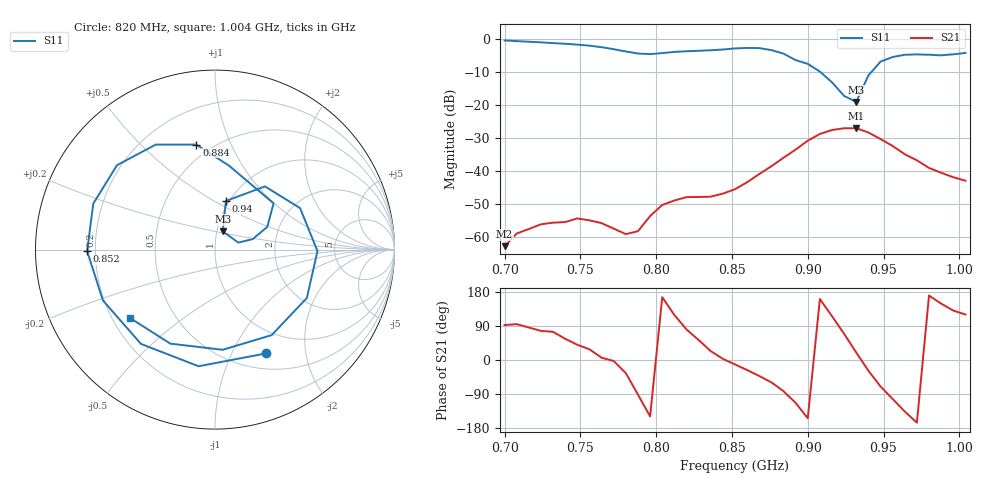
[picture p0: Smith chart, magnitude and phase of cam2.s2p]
# Hz S RI R 50
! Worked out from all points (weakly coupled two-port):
!   39 points, 700 MHz to 1.004 GHz, reference 50 ohm
!   highest |S21| = -27.12 dB at 932 MHz (marker M1); lowest = -62.9 dB at 700 MHz (marker M2)
!   lowest |S11| = -19.1 dB at 932 MHz (marker M3), VSWR 1.25, Z = 53.3 + j11 ohm
!   |S11| at or under -10 dB: 908.1 MHz to 942.2 MHz (34.1 MHz wide, 3.69 % of centre)
!   S12 and S22 are empty: the file has one direction only
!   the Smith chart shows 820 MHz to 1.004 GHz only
!   S11 on the Smith chart (normalised r, x): 820 MHz: 0.69, -1.37; 852 MHz: 0.17, -0.01; 884 MHz: 0.41, +0.75; 940 MHz: 0.97, +0.57; 1.004 GHz: 0.27, -0.33
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7e8  0.7629 0.5504  -2.82e-05 0.000718  0 0  0 0
7.24e8  0.8447 -0.2502  0.00035 0.0015  0 0  0 0
7.4e8  0.4566 -0.7026  0.000934 0.00138  0 0  0 0
7.56e8  -0.1929 -0.76  0.00156 0.000834  0 0  0 0
7.72e8  -0.6637 -0.1995  0.00132 -6.33e-05  0 0  0 0
7.8e8  -0.6002 0.2228  0.000899 -0.000624  0 0  0 0
7.88e8  -0.2556 0.539  -3.12e-05 -0.00121  0 0  0 0
7.96e8  0.2353 0.5345  -0.00176 -0.00106  0 0  0 0
8.04e8  0.5753 0.1882  -0.00294 0.000745  0 0  0 0
8.2e8  0.286 -0.5783  0.00065 0.00392  0 0  0 0
8.36e8  -0.4123 -0.5255  0.00371 0.00161  0 0  0 0
8.52e8  -0.7122 -0.00935  0.00513 -0.00106  0 0  0 0
8.68e8  -0.5457 0.4703  0.00658 -0.00599  0 0  0 0
8.84e8  -0.104 0.5849  0.0021 -0.0156  0 0  0 0
9e8  0.3266 0.2575  -0.0256 -0.0126  0 0  0 0
9.08e8  0.2911 0.1266  -0.034 0.0118  0 0  0 0
9.32e8  0.043 0.1017  0.0415 0.0147  0 0  0 0
9.4e8  0.0606 0.2707  0.0334 -0.0179  0 0  0 0
9.56e8  0.4743 0.2309  -0.00527 -0.0231  0 0  0 0
9.64e8  0.5709 -0.00821  -0.0127 -0.0124  0 0  0 0
9.8e8  0.3157 -0.4764  -0.0108 0.0019  0 0  0 0
1.004e9  -0.4761 -0.3793  -0.00353 0.00611  0 0  0 0
